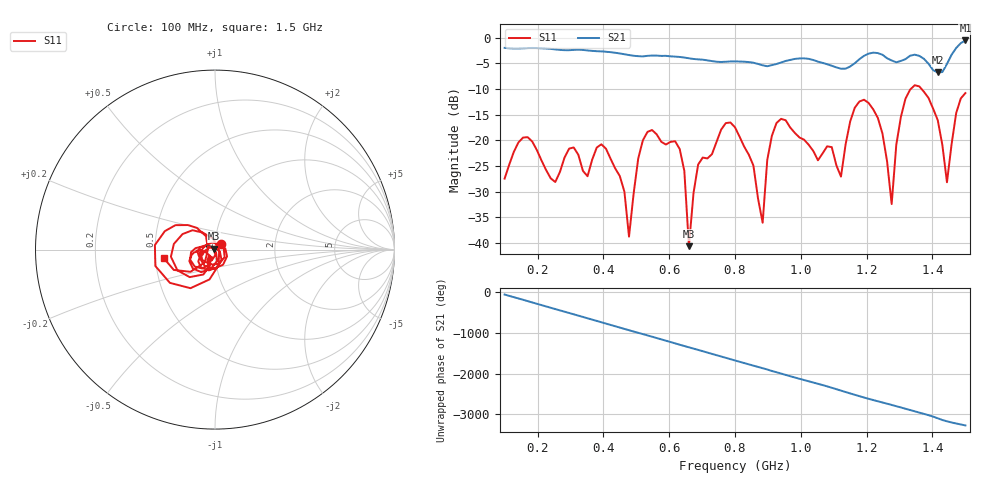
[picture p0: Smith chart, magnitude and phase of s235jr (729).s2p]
! NanoVNA-App
! Date: 2025-09-25 15:09:50
! Start: 100MHz Stop: 1,5GHz Points: 101
! S-Parameter data: F S11 S21 S12 S22
# Hz S RI R 50
!  Frequency  S11_Real  S11_Imag  S21_Real  S21_Imag  S12_Real  S12_Imag  S22_Real  S22_Imag
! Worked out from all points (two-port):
!   101 points, 100 MHz to 1.5 GHz, reference 50 ohm
!   highest |S21| = -0.51 dB at 1.5 GHz (marker M1); lowest = -6.8 dB at 1.416 GHz (marker M2)
!   |S21| within 3 dB of the highest: start of sweep to 494.5 MHz; 1.192 GHz to 1.252 GHz (60.24 MHz wide, 4.93 % of centre)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
!   lowest |S11| = -40.7 dB at 660 MHz (marker M3), VSWR 1.02, Z = 49.3 + j0.549 ohm
!   |S11| at or under -10 dB: start of sweep to 1.334 GHz; 1.367 GHz to end of sweep
!   S12 and S22 are empty: the file has one direction only
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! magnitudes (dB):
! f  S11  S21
! 100 MHz  -27.5  -2.0
! 170 MHz  -19.4  -2.0
! 338 MHz  -26.0  -2.4
! 408 MHz  -21.6  -2.7
! 478 MHz  -38.8  -3.4
! 520 MHz  -20.0  -3.6
! 576 MHz  -20.3  -3.5
! 632 MHz  -21.7  -3.7
! 660 MHz  -40.7  -4.0
! 688 MHz  -24.7  -4.2
! 800 MHz  -17.5  -4.6
! 884 MHz  -36.1  -5.4
! 926 MHz  -16.6  -5.1
! 1.038 GHz  -22.1  -4.3
! 1.122 GHz  -27.1  -6.0
! 1.192 GHz  -12.1  -3.5
! 1.248 GHz  -18.7  -3.3
! 1.276 GHz  -32.4  -4.4
! 1.332 GHz  -10.1  -3.5
! 1.416 GHz  -16.1  -6.8
! 1.444 GHz  -28.2  -5.1
! 1.5 GHz  -10.8  -0.5
